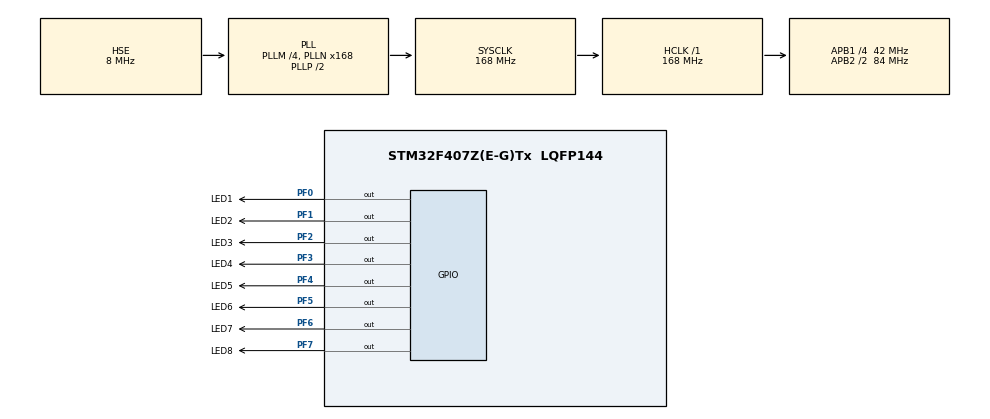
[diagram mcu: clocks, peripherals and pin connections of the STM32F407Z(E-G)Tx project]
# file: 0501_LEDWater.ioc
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Mcu.Family=STM32F4
Mcu.Name=STM32F407Z(E-G)Tx
Mcu.Package=LQFP144
NVIC.PriorityGroup=NVIC_PRIORITYGROUP_4
PA13.Mode=Serial_Wire
PA13.Signal=SYS_JTMS-SWDIO
PA14.Mode=Serial_Wire
PA14.Signal=SYS_JTCK-SWCLK
PF0.GPIO_Label=LED1
PF0.PinState=GPIO_PIN_SET
PF0.Signal=GPIO_Output
PF1.GPIO_Label=LED2
PF1.PinState=GPIO_PIN_SET
PF1.Signal=GPIO_Output
PF2.GPIO_Label=LED3
PF2.PinState=GPIO_PIN_SET
PF2.Signal=GPIO_Output
PF3.GPIO_Label=LED4
PF3.PinState=GPIO_PIN_SET
PF3.Signal=GPIO_Output
PF4.GPIO_Label=LED5
PF4.PinState=GPIO_PIN_SET
PF4.Signal=GPIO_Output
PF5.GPIO_Label=LED6
PF5.PinState=GPIO_PIN_SET
PF5.Signal=GPIO_Output
PF6.GPIO_Label=LED7
PF6.PinState=GPIO_PIN_SET
PF6.Signal=GPIO_Output
PF7.GPIO_Label=LED8
PF7.PinState=GPIO_PIN_SET
PF7.Signal=GPIO_Output
PH0-OSC_IN.Mode=HSE-External-Oscillator
PH0-OSC_IN.Signal=RCC_OSC_IN
PH1-OSC_OUT.Mode=HSE-External-Oscillator
PH1-OSC_OUT.Signal=RCC_OSC_OUT
ProjectManager.HeapSize=0x200
ProjectManager.StackSize=0x400
ProjectManager.TargetToolchain=STM32CubeIDE
RCC.48MHZClocksFreq_Value=84000000
RCC.AHBFreq_Value=168000000
RCC.APB1CLKDivider=RCC_HCLK_DIV4
RCC.APB1Freq_Value=42000000
RCC.APB1TimFreq_Value=84000000
RCC.APB2CLKDivider=RCC_HCLK_DIV2
RCC.APB2Freq_Value=84000000
RCC.APB2TimFreq_Value=168000000
RCC.CortexFreq_Value=168000000
RCC.HCLKFreq_Value=168000000
RCC.HSE_VALUE=8000000
RCC.HSI_VALUE=16000000
RCC.LSE_VALUE=32768
RCC.PLLM=4
RCC.PLLN=168
RCC.PLLSourceVirtual=RCC_PLLSOURCE_HSE
RCC.SYSCLKFreq_VALUE=168000000
RCC.SYSCLKSource=RCC_SYSCLKSOURCE_PLLCLK
RCC.VCOOutputFreq_Value=336000000
board=custom

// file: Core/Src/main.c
/* USER CODE BEGIN Header */
/**
  ******************************************************************************
  * @file           : main.c
  * @brief          : Main program body
  ******************************************************************************
  * @attention
  *
  * Copyright (c) 2026 STMicroelectronics.
  * All rights reserved.
  *
  * This software is licensed under terms that can be found in the LICENSE file
  * in the root directory of this software component.
  * If no LICENSE file comes with this software, it is provided AS-IS.
  *
  ******************************************************************************
  */
/* USER CODE END Header */
#include "main.h"
#include "gpio.h"

void SystemClock_Config(void);

/* USER CODE BEGIN 0 */
void delay(uint32_t i)
{
    while(i--);
}

/* USER CODE END 0 */

int main(void)
{

  /* USER CODE BEGIN 1 */
	void delay(uint32_t i);

  /* USER CODE END 1 */

  /* MCU Configuration--------------------------------------------------------*/

  /* Reset of all peripherals, Initializes the Flash interface and the Systick. */
  HAL_Init();

  /* Configure the system clock */
  SystemClock_Config();

  /* Initialize all configured peripherals */
  MX_GPIO_Init();

  /* Infinite loop */
  while (1)
  {

    /* USER CODE BEGIN 3 */
	  GPIOF->ODR = 0xFE;
	  delay(500000);
	  GPIOF->ODR = 0xFD;
	  delay(500000);
	  GPIOF->ODR = 0xFB;
	  delay(500000);
	  GPIOF->ODR = 0xF7;
	  delay(500000);
	  GPIOF->ODR = 0xEF;
	  delay(500000);
	  GPIOF->ODR = 0xDF;
	  delay(500000);
	  GPIOF->ODR = 0xBF;
	  delay(500000);
	  GPIOF->ODR = 0x7F;
	  delay(500000);

  }
  /* USER CODE END 3 */
}

void SystemClock_Config(void)
{
  RCC_OscInitTypeDef RCC_OscInitStruct = {0};
  RCC_ClkInitTypeDef RCC_ClkInitStruct = {0};

  /** Configure the main internal regulator output voltage
  */
  __HAL_RCC_PWR_CLK_ENABLE();
  __HAL_PWR_VOLTAGESCALING_CONFIG(PWR_REGULATOR_VOLTAGE_SCALE1);

  /** Initializes the RCC Oscillators according to the specified parameters
  * in the RCC_OscInitTypeDef structure.
  */
  RCC_OscInitStruct.OscillatorType = RCC_OSCILLATORTYPE_HSE;
  RCC_OscInitStruct.HSEState = RCC_HSE_ON;
  RCC_OscInitStruct.PLL.PLLState = RCC_PLL_ON;
  RCC_OscInitStruct.PLL.PLLSource = RCC_PLLSOURCE_HSE;
  RCC_OscInitStruct.PLL.PLLM = 4;
  RCC_OscInitStruct.PLL.PLLN = 168;
  RCC_OscInitStruct.PLL.PLLP = RCC_PLLP_DIV2;
  RCC_OscInitStruct.PLL.PLLQ = 4;
  if (HAL_RCC_OscConfig(&RCC_OscInitStruct) != HAL_OK)
  {
    Error_Handler();
  }

  /** Initializes the CPU, AHB and APB buses clocks
  */
  RCC_ClkInitStruct.ClockType = RCC_CLOCKTYPE_HCLK|RCC_CLOCKTYPE_SYSCLK
                              |RCC_CLOCKTYPE_PCLK1|RCC_CLOCKTYPE_PCLK2;
  RCC_ClkInitStruct.SYSCLKSource = RCC_SYSCLKSOURCE_PLLCLK;
  RCC_ClkInitStruct.AHBCLKDivider = RCC_SYSCLK_DIV1;
  RCC_ClkInitStruct.APB1CLKDivider = RCC_HCLK_DIV4;
  RCC_ClkInitStruct.APB2CLKDivider = RCC_HCLK_DIV2;

  if (HAL_RCC_ClockConfig(&RCC_ClkInitStruct, FLASH_LATENCY_5) != HAL_OK)
  {
    Error_Handler();
  }
}

void Error_Handler(void)
{
  __disable_irq();
  while (1)
  {
  }
}
